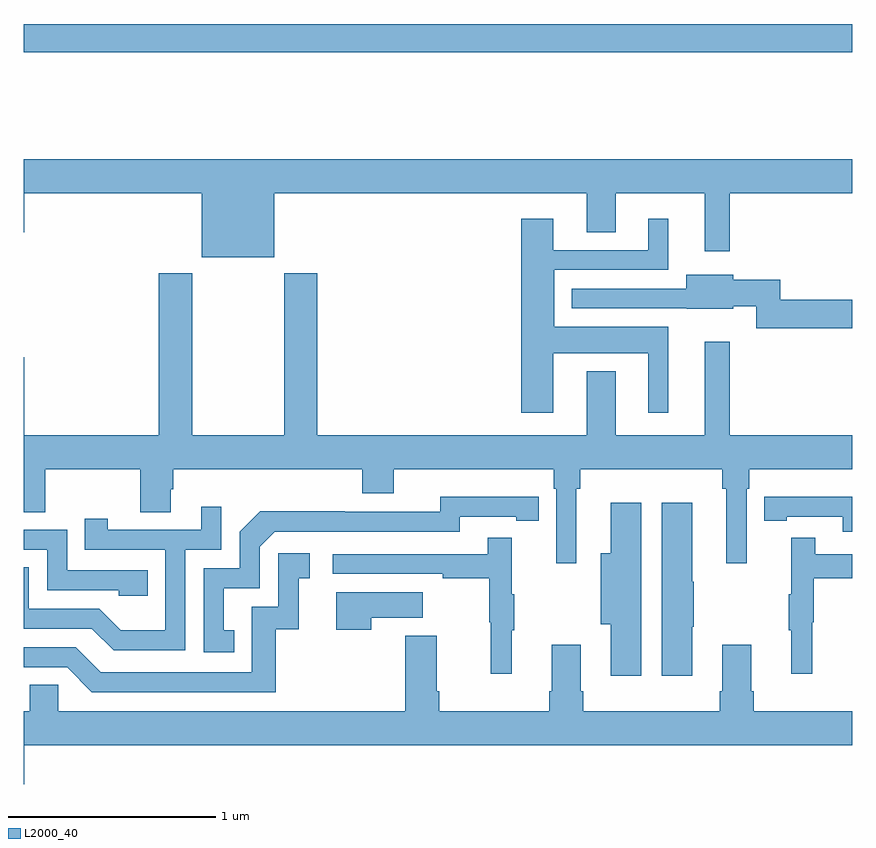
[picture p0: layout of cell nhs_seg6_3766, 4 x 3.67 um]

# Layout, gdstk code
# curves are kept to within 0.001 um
import gdstk
lib = gdstk.Library(unit=1e-6, precision=1e-09)
def R(c, l, rs):  # rectangles x0, y0, x1, y1
    for r in rs: c.add(gdstk.rectangle(r[:2], r[2:], *l))
def P(c, l, *ps):  # polygons
    for p in ps: c.add(gdstk.Polygon(p, *l))
L2000_40 = (2000, 40)

nhs_seg6_3766 = lib.new_cell('nhs_seg6_3766')
R(nhs_seg6_3766, L2000_40, [(333,953.344,337,953.48)])
P(nhs_seg6_3766, L2000_40, [(334.21,952.664),(335.717,952.664),(335.717,952.474),(335.857,952.474),(335.857,952.664),(336.287,952.664),(336.287,952.383),(336.409,952.383),(336.409,952.664),(337,952.664),(337,952.828),(333,952.828),(333,952.476),(333.004,952.476),(333.004,952.664),(333.86,952.664),(333.86,952.355),(334.21,952.355)],
  [(335.557,951.89),(336.014,951.89),(336.014,951.603),(336.112,951.603),(336.112,952.018),(335.56,952.018),(335.56,952.293),(336.112,952.293),(336.112,952.54),(336.014,952.54),(336.014,952.389),(335.557,952.389),(335.557,952.54),(335.402,952.54),(335.402,951.603),(335.557,951.603)],
  [(335.668,951.236),(335.687,951.236),(335.687,951.332),(336.373,951.332),(336.373,951.236),(336.392,951.236),(336.392,950.877),(336.489,950.877),(336.489,951.236),(336.503,951.236),(336.503,951.332),(337,951.332),(337,951.496),(336.409,951.496),(336.409,951.946),(336.287,951.946),(336.287,951.496),(335.857,951.496),(335.857,951.805),(335.717,951.805),(335.717,951.496),(334.418,951.496),(334.418,952.276),(334.258,952.276),(334.258,951.496),(333.813,951.496),(333.813,952.276),(333.653,952.276),(333.653,951.496),(333.004,951.496),(333.004,951.871),(333,951.871),(333,951.124),(333.105,951.124),(333.105,951.332),(333.562,951.332),(333.562,951.124),(333.709,951.124),(333.709,951.234),(333.722,951.234),(333.722,951.332),(334.634,951.332),(334.634,951.215),(334.786,951.215),(334.786,951.332),(335.558,951.332),(335.558,951.236),(335.571,951.236),(335.571,950.877),(335.668,950.877)],
  [(337,952.148),(336.653,952.148),(336.653,952.246),(336.424,952.246),(336.424,952.27),(336.197,952.27),(336.197,952.203),(335.645,952.203),(335.645,952.107),(336.201,952.107),(336.201,952.106),(336.424,952.106),(336.424,952.117),(336.537,952.117),(336.537,952.012),(337,952.012)],
  [(334.016,950.553),(333.967,950.553),(333.967,950.757),(334.14,950.757),(334.14,950.958),(334.212,951.03),(335.106,951.03),(335.106,951.102),(335.378,951.102),(335.378,951.082),(335.486,951.082),(335.486,951.198),(335.01,951.199),(335.01,951.126),(334.55,951.126),(334.55,951.128),(334.142,951.128),(334.044,951.03),(334.044,950.853),(333.87,950.853),(333.87,950.448),(334.016,950.448)],
  [(337,951.199),(336.682,951.199),(336.682,951.198),(336.574,951.198),(336.574,951.082),(336.682,951.082),(336.682,951.102),(336.954,951.102),(336.954,951.03),(337,951.03)],
  [(336.226,950.572),(336.234,950.572),(336.234,950.789),(336.226,950.789),(336.226,951.169),(336.08,951.169),(336.08,950.334),(336.226,950.334)],
  [(335.98,951.169),(335.834,951.169),(335.834,950.926),(335.786,950.926),(335.786,950.582),(335.834,950.582),(335.834,950.334),(335.98,950.334)],
  [(333.78,950.943),(333.954,950.943),(333.954,951.151),(333.857,951.151),(333.857,951.039),(333.406,951.039),(333.406,951.091),(333.295,951.091),(333.295,950.943),(333.684,950.943),(333.684,950.554),(333.47,950.554),(333.366,950.658),(333.024,950.658),(333.024,950.857),(333,950.857),(333,950.562),(333.329,950.562),(333.434,950.457),(333.78,950.457)],
  [(333.599,950.844),(333.21,950.844),(333.21,951.039),(333,951.039),(333,950.943),(333.114,950.943),(333.114,950.748),(333.459,950.748),(333.459,950.721),(333.599,950.721)],
  [(336.806,950.592),(336.814,950.592),(336.814,950.806),(337,950.806),(337,950.922),(336.821,950.922),(336.821,951.001),(336.704,951.001),(336.704,950.729),(336.693,950.729),(336.693,950.555),(336.704,950.555),(336.704,950.343),(336.806,950.343)],
  [(335.357,950.555),(335.368,950.555),(335.368,950.729),(335.357,950.729),(335.357,951.001),(335.239,951.001),(335.239,950.922),(334.491,950.922),(334.491,950.826),(335.023,950.826),(335.023,950.806),(335.247,950.806),(335.247,950.592),(335.254,950.592),(335.254,950.343),(335.357,950.343)],
  [(334.217,950.559),(334.328,950.559),(334.328,950.805),(334.381,950.805),(334.381,950.926),(334.23,950.926),(334.23,950.667),(334.101,950.667),(334.101,950.352),(333.372,950.352),(333.252,950.472),(333,950.472),(333,950.376),(333.21,950.376),(333.33,950.256),(334.217,950.256)],
  [(334.679,950.615),(334.927,950.615),(334.927,950.737),(334.508,950.737),(334.508,950.556),(334.679,950.556)],
  [(333.004,950),(337,950),(337,950.164),(336.524,950.164),(336.524,950.26),(336.511,950.26),(336.511,950.485),(336.371,950.485),(336.371,950.26),(336.359,950.26),(336.359,950.164),(335.702,950.164),(335.702,950.26),(335.689,950.26),(335.689,950.485),(335.549,950.485),(335.549,950.26),(335.537,950.26),(335.537,950.164),(335.006,950.164),(335.006,950.26),(334.993,950.26),(334.993,950.527),(334.841,950.527),(334.841,950.164),(333.168,950.164),(333.168,950.291),(333.029,950.291),(333.029,950.164),(333,950.164),(333,949.812),(333.004,949.812)])

lib.write_gds('nhs_seg6_3766.gds')
